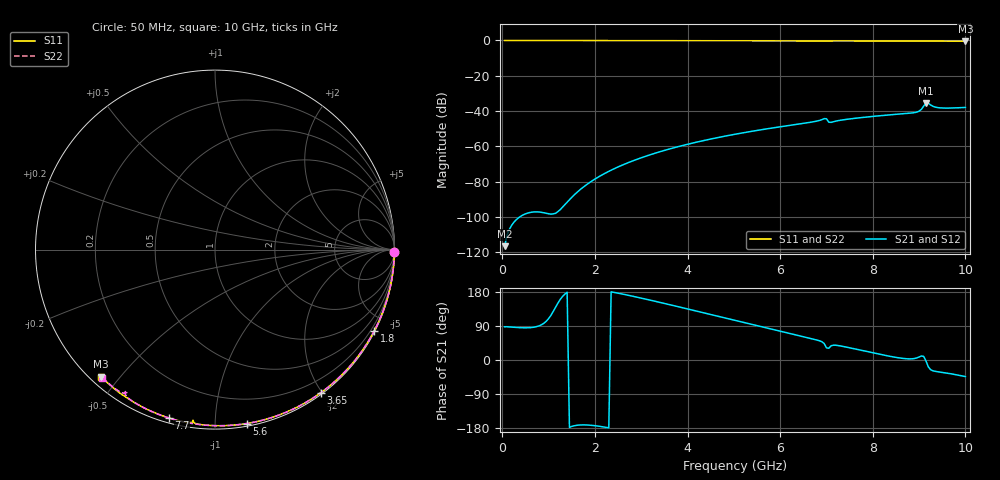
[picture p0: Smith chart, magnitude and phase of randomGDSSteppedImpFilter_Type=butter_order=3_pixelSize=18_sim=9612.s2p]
! freq	dB(S11)	phase(S11)	dB(S12)	phase(S12)
!  dB(S21)	phase(S21)	dB(S22)	phase(S22)
!S-par simulation data
#  GHz  S  DB  R 50
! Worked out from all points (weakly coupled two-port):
!   200 points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, 50 MHz to 10 GHz, reference 50 ohm
!   highest |S21| = -35.40 dB at 9.15 GHz (marker M1); lowest = -116.5 dB at 50 MHz (marker M2)
!   lowest |S11| = -0.4 dB at 10 GHz (marker M3), VSWR 39.23, Z = 1.53 - j22.3 ohm
!   |S11| at or under -10 dB: nowhere
!   |S22| runs from -0.7 to 0.0 dB; largest |S21 - S12| = 0
!   S11 on the Smith chart (normalised r, x): 50 MHz: open; 1.8 GHz: 0.04, -4.16; 3.65 GHz: 0.02, -1.98; 5.6 GHz: 0.02, -1.20; 7.7 GHz: 0.02, -0.76; 10 GHz: 0.03, -0.45
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0.05  -0.00 -0.8  -116.49 87.7  -116.49 87.7  -0.00 -0.8
1.75  -0.03 -26.3  -83.03 -171.2  -83.03 -171.2  -0.03 -26.2
1.8  -0.03 -27.1  -82.04 -171.3  -82.04 -171.3  -0.03 -27.0
1.9  -0.04 -28.5  -80.19 -172.1  -80.19 -172.1  -0.04 -28.4
2.25  -0.04 -33.6  -74.77 -177.9  -74.77 -177.9  -0.04 -33.5
2.65  -0.05 -39.4  -69.92 172.6  -69.92 172.6  -0.05 -39.3
3.4  -0.07 -50.1  -63.04 152.1  -63.04 152.1  -0.07 -49.9
3.65  -0.07 -53.6  -61.17 145.0  -61.17 145.0  -0.07 -53.4
5.05  -0.11 -72.5  -53.00 103.9  -53.00 103.9  -0.11 -72.3
5.6  -0.13 -79.7  -50.52 87.7  -50.52 87.7  -0.13 -79.4
6.7  -0.18 -93.6  -46.13 55.6  -46.13 55.6  -0.18 -93.1
6.95  -0.26 -97.1  -44.28 43.6  -44.28 43.6  -0.19 -96.2
7  -0.37 -97.4  -44.31 32.0  -44.31 32.0  -0.20 -96.8
7.05  -0.31 -97.1  -46.30 31.1  -46.30 31.1  -0.20 -97.4
7.1  -0.25 -97.8  -46.38 37.5  -46.38 37.5  -0.20 -98.0
7.7  -0.24 -105.4  -43.83 26.9  -43.83 26.9  -0.24 -105.2
8.35  -0.29 -113.0  -42.16 10.2  -42.16 10.2  -0.29 -112.9
8.95  -0.34 -119.9  -40.57 5.4  -40.57 5.4  -0.37 -120.3
9.05  -0.36 -121.1  -39.00 10.6  -39.00 10.6  -0.45 -121.7
9.15  -0.36 -122.1  -35.40 -2.8  -35.40 -2.8  -0.66 -122.0
9.45  -0.38 -125.7  -38.17 -31.7  -38.17 -31.7  -0.41 -124.8
10  -0.44 -131.9  -37.92 -43.8  -37.92 -43.8  -0.45 -131.3
